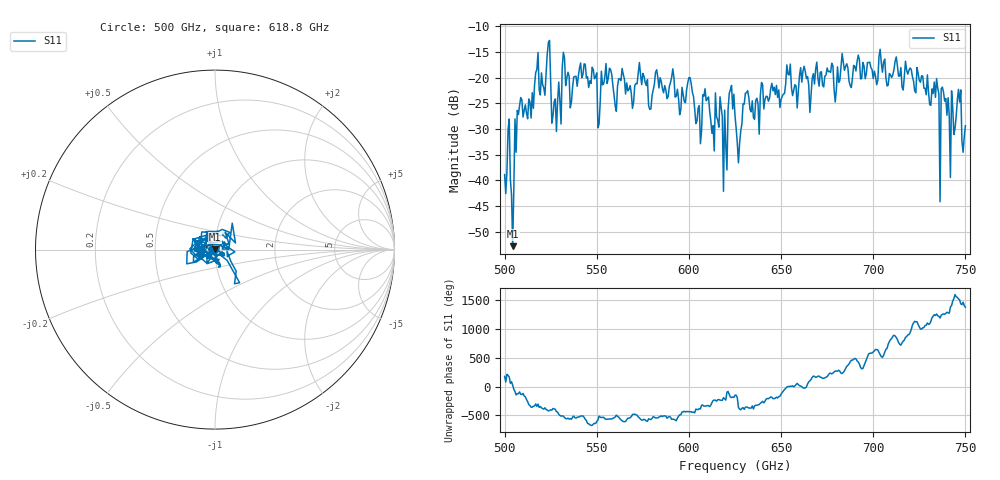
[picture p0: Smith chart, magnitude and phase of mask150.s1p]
!Created with skrf (http://scikit-rf.org).
# GHz S MA R 50.0
!freq magS11 angS11
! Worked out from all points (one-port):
!   401 points, 500 GHz to 750 GHz, reference 50 ohm
!   lowest |S11| = -52.8 dB at 504.4 GHz (marker M1), VSWR 1.00, Z = 50.2 + j0.0987 ohm
!   |S11| at or under -10 dB: start of sweep to end of sweep
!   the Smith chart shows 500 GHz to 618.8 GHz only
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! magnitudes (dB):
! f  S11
! 500 GHz  -38.9
! 502.5 GHz  -28.0
! 504.4 GHz  -52.8
! 508.1 GHz  -25.4
! 523.8 GHz  -13.2
! 526.9 GHz  -24.7
! 531.2 GHz  -18.2
! 548.8 GHz  -20.2
! 551.9 GHz  -24.7
! 562.5 GHz  -20.2
! 593.8 GHz  -22.3
! 600.6 GHz  -20.0
! 605.6 GHz  -25.4
! 609.4 GHz  -24.5
! 619.4 GHz  -26.3
! 622.5 GHz  -22.3
! 625 GHz  -27.4
! 626.9 GHz  -36.6
! 631.2 GHz  -22.9
! 656.2 GHz  -23.5
! 687.5 GHz  -21.6
! 718.8 GHz  -19.3
! 734.4 GHz  -20.2
! 735 GHz  -22.1
! 738.1 GHz  -22.8
! 743.1 GHz  -25.9
! 746.2 GHz  -22.3
! 750 GHz  -29.4
